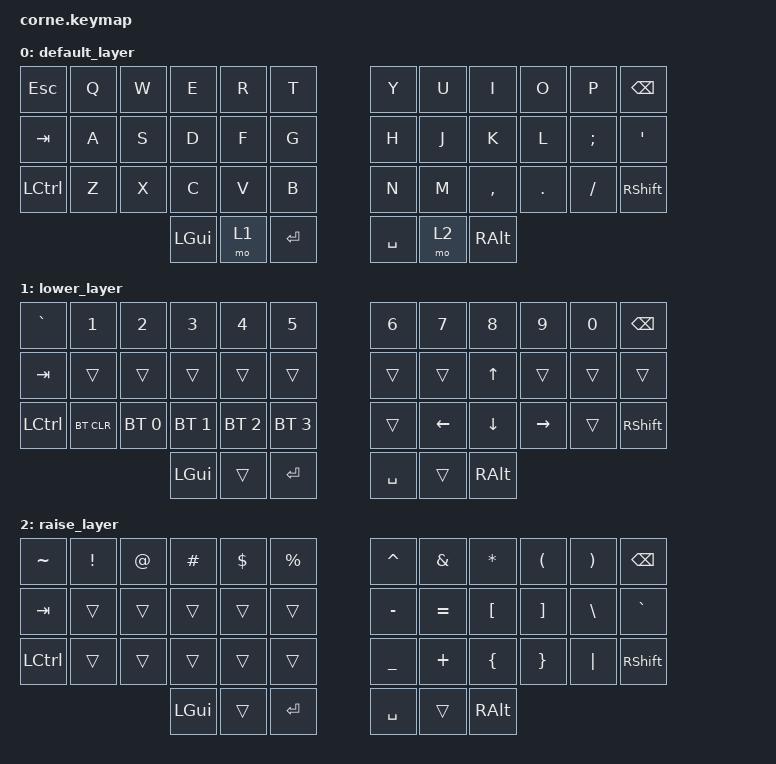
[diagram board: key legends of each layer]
/*
 * Copyright (c) 2020 The ZMK Contributors
 *
 * SPDX-License-Identifier: MIT
 */

#include <behaviors.dtsi>
#include <dt-bindings/zmk/bt.h>
#include <dt-bindings/zmk/keys.h>

/ {
    keymap {
        compatible = "zmk,keymap";

        default_layer {
            // -----------------------------------------------------------------------------------------
            // |  TAB |  Q  |  W  |  E  |  R  |  T  |   |  Y  |  U   |  I  |  O  |  P  | BSPC |
            // | CTRL |  A  |  S  |  D  |  F  |  G  |   |  H  |  J   |  K  |  L  |  ;  |  '   |
            // | SHFT |  Z  |  X  |  C  |  V  |  B  |   |  N  |  M   |  ,  |  .  |  /  | ESC  |
            //                    | GUI | LWR | SPC |   | ENT | RSE  | ALT |

            bindings = <
&kp ESCAPE        &kp Q  &kp W  &kp E     &kp R  &kp T        &kp Y      &kp U  &kp I      &kp O    &kp P     &kp BSPC
&kp TAB           &kp A  &kp S  &kp D     &kp F  &kp G        &kp H      &kp J  &kp K      &kp L    &kp SEMI  &kp SQT
&kp LEFT_CONTROL  &kp Z  &kp X  &kp C     &kp V  &kp B        &kp N      &kp M  &kp COMMA  &kp DOT  &kp FSLH  &kp RIGHT_SHIFT
                                &kp LGUI  &mo 1  &kp ENTER    &kp SPACE  &mo 2  &kp RALT
            >;
        };

        lower_layer {
            // -----------------------------------------------------------------------------------------
            // |  TAB |  1  |  2  |  3  |  4  |  5  |   |  6  |  7  |  8  |  9  |  0  | BSPC |
            // | BTCLR| BT1 | BT2 | BT3 | BT4 | BT5 |   | LFT | DWN |  UP | RGT |     |      |
            // | SHFT |     |     |     |     |     |   |     |     |     |     |     |      |
            //                    | GUI |     | SPC |   | ENT |     | ALT |

            bindings = <
&kp GRAVE         &kp N1      &kp N2        &kp N3        &kp N4        &kp N5          &kp N6     &kp N7          &kp N8    &kp N9     &kp N0  &kp BSPC
&kp TAB           &trans      &trans        &trans        &trans        &trans          &trans     &trans          &kp UP    &trans     &trans  &trans
&kp LEFT_CONTROL  &bt BT_CLR  &bt BT_SEL 0  &bt BT_SEL 1  &bt BT_SEL 2  &bt BT_SEL 3    &trans     &kp LEFT_ARROW  &kp DOWN  &kp RIGHT  &trans  &kp RIGHT_SHIFT
                                            &kp LGUI      &trans        &kp ENTER       &kp SPACE  &trans          &kp RALT
            >;
        };

        raise_layer {
            // -----------------------------------------------------------------------------------------
            // |  TAB |  !  |  @  |  #  |  $  |  %  |   |  ^  |  &  |  *  |  (  |  )  | BSPC |
            // | CTRL |     |     |     |     |     |   |  -  |  =  |  [  |  ]  |  \  |  `   |
            // | SHFT |     |     |     |     |     |   |  _  |  +  |  {  |  }  | "|" |  ~   |
            //                    | GUI |     | SPC |   | ENT |     | ALT |

            bindings = <
&kp TILDE         &kp EXCL  &kp AT  &kp HASH  &kp DLLR  &kp PRCNT    &kp CARET  &kp AMPS   &kp ASTRK  &kp LPAR  &kp RPAR  &kp BSPC
&kp TAB           &trans    &trans  &trans    &trans    &trans       &kp MINUS  &kp EQUAL  &kp LBKT   &kp RBKT  &kp BSLH  &kp GRAVE
&kp LEFT_CONTROL  &trans    &trans  &trans    &trans    &trans       &kp UNDER  &kp PLUS   &kp LBRC   &kp RBRC  &kp PIPE  &kp RIGHT_SHIFT
                                    &kp LGUI  &trans    &kp ENTER    &kp SPACE  &trans     &kp RALT
            >;
        };
    };
};
